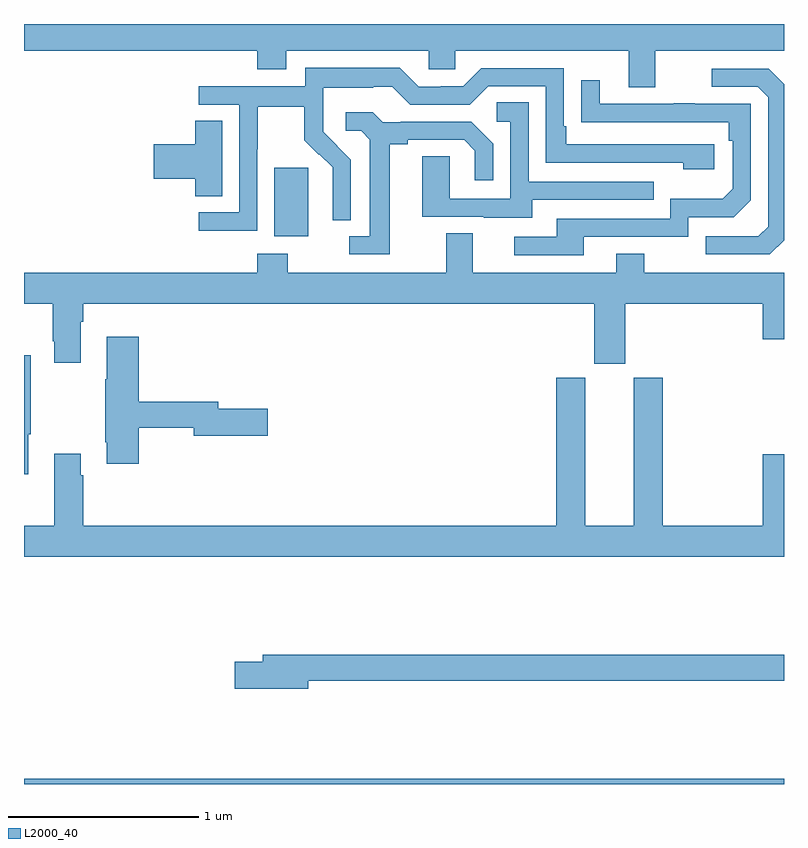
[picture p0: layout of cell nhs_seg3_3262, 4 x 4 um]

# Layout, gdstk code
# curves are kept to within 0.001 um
import gdstk
lib = gdstk.Library(unit=1e-6, precision=1e-09)
def R(c, l, rs):  # rectangles x0, y0, x1, y1
    for r in rs: c.add(gdstk.rectangle(r[:2], r[2:], *l))
def P(c, l, *ps):  # polygons
    for p in ps: c.add(gdstk.Polygon(p, *l))
L2000_40 = (2000, 40)

nhs_seg3_3262 = lib.new_cell('nhs_seg3_3262')
R(nhs_seg3_3262, L2000_40, [(281,686.4,285,686.428), (282.317,689.282,282.496,689.643)])
P(nhs_seg3_3262, L2000_40, [(281,690.26),(282.227,690.26),(282.227,690.161),(282.379,690.161),(282.379,690.26),(283.131,690.26),(283.131,690.162),(283.269,690.162),(283.269,690.26),(284.183,690.26),(284.183,690.066),(284.323,690.066),(284.323,690.26),(285,690.26),(285,690.4),(281,690.4)],
  [(282.228,689.74),(282.231,689.74),(282.231,689.964),(282.475,689.964),(282.475,689.789),(282.552,689.712),(282.555,689.715),(282.626,689.645),(282.626,689.522),(282.624,689.522),(282.624,689.368),(282.72,689.368),(282.72,689.686),(282.574,689.834),(282.574,689.931),(282.576,689.931),(282.576,690.065),(282.839,690.065),(282.839,690.069),(282.939,690.069),(283.032,689.976),(283.347,689.976),(283.443,690.072),(283.746,690.072),(283.746,689.67),(284.471,689.67),(284.471,689.636),(284.632,689.636),(284.632,689.766),(283.855,689.766),(283.855,689.863),(283.842,689.863),(283.842,690.168),(283.407,690.168),(283.311,690.072),(283.193,690.072),(283.193,690.069),(283.077,690.069),(282.977,690.169),(282.48,690.169),(282.48,690.072),(281.919,690.072),(281.919,689.976),(282.132,689.976),(282.132,689.409),(281.919,689.409),(281.919,689.311),(282.228,689.311)],
  [(285,689.262),(285,690.084),(284.919,690.165),(284.619,690.165),(284.619,690.069),(284.862,690.069),(284.916,690.015),(284.916,689.334),(284.865,689.283),(284.589,689.283),(284.589,689.187),(284.925,689.187)],
  [(283.945,689.28),(284.496,689.28),(284.496,689.382),(284.736,689.382),(284.826,689.472),(284.826,689.979),(284.531,689.979),(284.531,689.984),(284.419,689.984),(284.419,689.979),(284.029,689.979),(284.029,690.103),(283.933,690.103),(283.933,689.884),(284.71,689.883),(284.71,689.786),(284.73,689.786),(284.73,689.532),(284.677,689.479),(284.4,689.479),(284.4,689.376),(283.805,689.376),(283.805,689.28),(283.581,689.28),(283.581,689.184),(283.945,689.184)],
  [(283.675,689.475),(284.315,689.475),(284.315,689.571),(283.656,689.571),(283.656,689.987),(283.488,689.987),(283.488,689.886),(283.56,689.886),(283.56,689.481),(283.242,689.481),(283.242,689.705),(283.097,689.705),(283.097,689.385),(283.421,689.385),(283.421,689.381),(283.675,689.381)],
  [(282.925,689.768),(283.021,689.768),(283.021,689.79),(283.316,689.79),(283.373,689.733),(283.373,689.577),(283.47,689.577),(283.47,689.77),(283.354,689.886),(282.982,689.886),(282.982,689.883),(282.888,689.883),(282.836,689.935),(282.693,689.935),(282.693,689.838),(282.774,689.838),(282.821,689.791),(282.821,689.283),(282.711,689.283),(282.711,689.187),(282.925,689.187)],
  [(282.043,689.891),(281.9,689.891),(281.9,689.768),(281.682,689.768),(281.682,689.585),(281.9,689.585),(281.9,689.494),(282.043,689.494)],
  [(284.164,688.928),(284.888,688.928),(284.888,688.74),(285,688.74),(285,689.092),(284.265,689.092),(284.265,689.191),(284.117,689.191),(284.117,689.092),(283.363,689.092),(283.363,689.3),(283.223,689.3),(283.223,689.092),(282.387,689.092),(282.387,689.191),(282.227,689.191),(282.227,689.092),(281,689.092),(281,688.928),(281.152,688.928),(281.152,688.729),(281.159,688.729),(281.159,688.617),(281.299,688.617),(281.299,688.832),(281.312,688.832),(281.312,688.928),(284,688.928),(284,688.611),(284.164,688.611)],
  [(281.603,688.276),(281.894,688.276),(281.894,688.234),(282.283,688.234),(282.283,688.376),(282.022,688.376),(282.022,688.412),(281.603,688.412),(281.603,688.753),(281.435,688.753),(281.435,688.529),(281.428,688.529),(281.428,688.198),(281.435,688.198),(281.435,688.086),(281.603,688.086)],
  [(281.023,688.241),(281.035,688.241),(281.035,688.657),(281,688.657),(281,688.029),(281.023,688.029)],
  [(285,688.135),(284.888,688.135),(284.888,687.76),(284.363,687.76),(284.363,688.539),(284.21,688.539),(284.21,687.76),(283.954,687.76),(283.954,688.539),(283.802,688.539),(283.802,687.76),(281.312,687.76),(281.312,688.025),(281.299,688.025),(281.299,688.138),(281.159,688.138),(281.159,687.76),(281,687.76),(281,687.596),(285,687.596)],
  [(282.496,686.944),(285,686.944),(285,687.08),(282.257,687.08),(282.257,687.044),(282.108,687.044),(282.108,686.902),(282.496,686.902)])

lib.write_gds('nhs_seg3_3262.gds')
